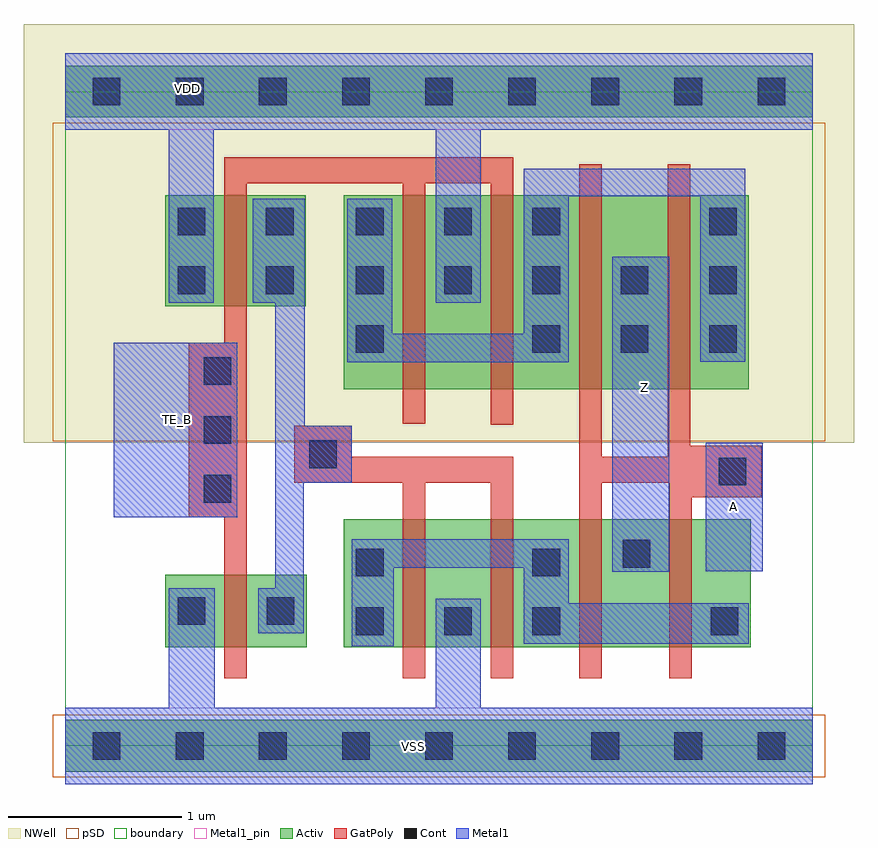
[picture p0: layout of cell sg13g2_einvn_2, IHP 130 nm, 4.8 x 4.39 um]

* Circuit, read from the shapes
.subckt sg13g2_einvn_2 A TE_B VDD VSS Z
XM1 n1 TE_B VSS VSS sg13_lv_nmos w=0.42u l=0.13u
XM2 VSS n1 n2 VSS sg13_lv_nmos w=0.74u l=0.13u m=2
XM3 Z A n2 VSS sg13_lv_nmos w=0.74u l=0.13u m=2
XM4 n1 TE_B VDD VDD sg13_lv_pmos w=0.64u l=0.13u
XM5 VDD TE_B n3 VDD sg13_lv_pmos w=1.12u l=0.13u m=2
XM6 Z A n3 VDD sg13_lv_pmos w=1.12u l=0.13u m=2
.ends

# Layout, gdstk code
import gdstk
lib = gdstk.Library(unit=1e-6, precision=1e-09)
def R(c, l, rs):  # rectangles x0, y0, x1, y1
    for r in rs: c.add(gdstk.rectangle(r[:2], r[2:], *l))
def A(c, l, x, y, w, h, nx, ny, dx, dy):  # array of equal rectangles
    R(c, l, [(x+i*dx, y+j*dy, x+i*dx+w, y+j*dy+h) for i in range(nx) for j in range(ny)])
def P(c, l, *ps):  # polygons
    for p in ps: c.add(gdstk.Polygon(p, *l))
Activ = (1, 0)
GatPoly = (5, 0)
Cont = (6, 0)
Metal1 = (8, 0)
Metal1_pin = (8, 2)
pSD = (14, 0)
NWell = (31, 0)
boundary = (189, 4)

sg13g2_einvn_2 = lib.new_cell('sg13g2_einvn_2')
R(sg13g2_einvn_2, Activ, [(0,-0.15,4.32,0.15), (0.58,0.57,1.395,0.99), (1.61,0.57,3.96,1.31), (1.61,2.06,3.95,3.18), (0.58,2.54,1.39,3.18), (0,3.63,4.32,3.93)])
P(sg13g2_einvn_2, GatPoly, [(1.95,0.39),(1.95,1.52),(1.325,1.52),(1.325,1.85),(1.655,1.85),(1.655,1.67),(2.59,1.67),(2.59,0.39),(2.46,0.39),(2.46,1.52),(2.08,1.52),(2.08,0.39)],
  [(2.97,0.39),(2.97,3.36),(3.1,3.36),(3.1,1.67),(3.48,1.67),(3.48,3.36),(3.61,3.36),(3.61,1.735),(4.025,1.735),(4.025,1.435),(3.62,1.435),(3.62,0.39),(3.49,0.39),(3.49,1.52),(3.1,1.52),(3.1,0.39)],
  [(0.92,0.39),(0.92,1.32),(0.715,1.32),(0.715,2.33),(0.92,2.33),(0.92,3.4),(2.59,3.4),(2.59,1.855),(2.46,1.855),(2.46,3.25),(2.08,3.25),(2.08,1.86),(1.95,1.86),(1.95,3.25),(1.05,3.25),(1.05,0.39)])
A(sg13g2_einvn_2, Cont, 0.16, -0.08, 0.16, 0.16, 9, 2, 0.48, 3.78)
A(sg13g2_einvn_2, Cont, 1.68, 0.64, 0.16, 0.16, 3, 2, 0.51, 2.31)
A(sg13g2_einvn_2, Cont, 0.8, 1.405, 0.16, 0.16, 1, 3, 0, 0.34)
A(sg13g2_einvn_2, Cont, 2.7, 2.27, 0.16, 0.16, 3, 1, 0.51, 0)
A(sg13g2_einvn_2, Cont, 1.68, 2.61, 0.16, 0.16, 5, 1, 0.51, 0)
R(sg13g2_einvn_2, Cont, [(3.73,0.64,3.89,0.8), (0.65,0.7,0.81,0.86), (1.165,0.7,1.325,0.86), (1.68,0.98,1.84,1.14), (2.7,0.98,2.86,1.14), (3.22,1.03,3.38,1.19), (3.775,1.505,3.935,1.665), (1.41,1.605,1.57,1.765), (1.68,2.27,1.84,2.43), (0.65,2.61,0.81,2.77), (1.16,2.61,1.32,2.77), (0.65,2.95,0.81,3.11), (1.16,2.95,1.32,3.11), (3.72,2.95,3.88,3.11)])
R(sg13g2_einvn_2, Metal1, [(3.16,1.005,3.49,2.825), (3.7,1.01,4.03,1.75), (0.28,1.32,0.995,2.33)])
P(sg13g2_einvn_2, Metal1, [(0.6,2.56),(0.6,3.56),(0,3.56),(0,4),(4.32,4),(4.32,3.56),(2.4,3.56),(2.4,2.56),(2.14,2.56),(2.14,3.56),(0.86,3.56),(0.86,2.56)],
  [(0,-0.22),(0,0.22),(0.6,0.22),(0.6,0.91),(0.865,0.91),(0.865,0.22),(2.14,0.22),(2.14,0.85),(2.4,0.85),(2.4,0.22),(4.32,0.22),(4.32,-0.22)],
  [(1.115,0.65),(1.115,0.91),(1.215,0.91),(1.215,2.56),(1.085,2.56),(1.085,3.16),(1.385,3.16),(1.385,1.85),(1.655,1.85),(1.655,1.52),(1.38,1.52),(1.38,0.65)],
  [(1.655,0.575),(1.655,1.195),(2.91,1.195),(2.91,0.825),(3.95,0.825),(3.95,0.59),(2.65,0.59),(2.65,1.03),(1.9,1.03),(1.9,0.575)],
  [(1.63,2.215),(1.63,3.16),(1.89,3.16),(1.89,2.38),(2.65,2.38),(2.65,3.335),(3.93,3.335),(3.93,2.22),(3.67,2.22),(3.67,3.175),(2.91,3.175),(2.91,2.215)])
R(sg13g2_einvn_2, Metal1_pin, [(0,-0.22,4.32,0.22), (3.16,1.005,3.49,2.825), (3.7,1.01,4.03,1.75), (0.28,1.32,0.995,2.33), (0,3.56,4.32,4)])
R(sg13g2_einvn_2, pSD, [(-0.07,-0.18,4.39,0.18), (-0.07,1.76,4.39,3.6)])
R(sg13g2_einvn_2, NWell, [(-0.24,1.75,4.56,4.17)])
R(sg13g2_einvn_2, boundary, [(0,0,4.32,3.78)])
sg13g2_einvn_2.add(gdstk.Label('VDD', (0.705,3.795), layer=8, texttype=25))
sg13g2_einvn_2.add(gdstk.Label('TE_B', (0.65,1.885), layer=8, texttype=25))
sg13g2_einvn_2.add(gdstk.Label('VSS', (2.01,-0.005), layer=8, texttype=25))
sg13g2_einvn_2.add(gdstk.Label('A', (3.86,1.385), layer=8, texttype=25))
sg13g2_einvn_2.add(gdstk.Label('Z', (3.345,2.07), layer=8, texttype=25))

lib.write_gds('sg13g2_einvn_2.gds')
